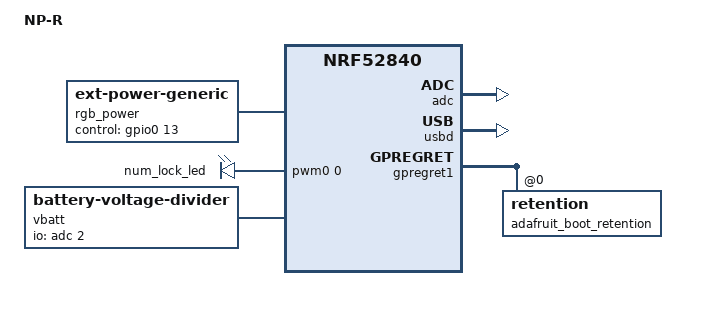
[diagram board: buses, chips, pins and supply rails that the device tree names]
/dts-v1/;
#include <nordic/nrf52840_qiaa.dtsi>
#include <common/nordic/nrf52840_uf2_boot_mode.dtsi>
#include <dt-bindings/zmk/matrix_transform.h>
#include <dt-bindings/led/led.h>
#include <dt-bindings/zmk/hid_indicators.h>

/ {
    model = "NP-R";
    compatible = "NP-R";

    chosen {
        zephyr,code-partition = &code_partition;
        zephyr,sram = &sram0;
        zephyr,flash = &flash0;
        zephyr,boot-mode = &boot_retention;
        zmk,magic-boot-mode = &adafruit_boot_retention;
        zmk,battery = &vbatt;
        npr,status-leds = &led_strip;
    };

    rgb_power {
        compatible = "zmk,ext-power-generic";
        control-gpios = <&gpio0 13 GPIO_ACTIVE_HIGH>;
    };

    pwm_leds {
        compatible = "pwm-leds";

        num_lock_led: num_lock_led {
            pwms = <&pwm0 0 PWM_MSEC(20) PWM_POLARITY_NORMAL>;
        };
    };


    indicators {
        compatible = "zmk,indicator-leds";

        num_lock_indicator: num_lock {
            leds = <&num_lock_led>;
            indicator = <HID_INDICATOR_NUM_LOCK>;

            active-brightness = <50>;
            inactive-brightness = <0>;
        };
    };
    
    vbatt: vbatt {
        compatible = "zmk,battery-voltage-divider";
        io-channels = <&adc 2>;
        output-ohms = <2000000>;
        full-ohms = <(2000000 + 806000)>;
    };

    magic_mapper {
        compatible = "zmk,bootmode-to-magic-mapper";
        status = "okay";

        #address-cells = <1>;
        #size-cells = <1>;

        boot_retention: retention@0 {
            compatible = "zephyr,retention";
            status = "okay";
            reg = <0x0 0x1>;
        };
    };
};

&adc {
    status = "okay";
};

&gpiote {
    status = "okay";
};

&gpio0 {
    status = "okay";
};

&gpio1 {
    status = "okay";
};

zephyr_udc0: &usbd {
    status = "okay";
};

&reg1 {
    regulator-initial-mode = <NRF5X_REG_MODE_DCDC>;
};

&gpregret1 {
    adafruit_boot_retention: retention@0 {
        compatible = "zephyr,retention";
        status = "okay";
        reg = <0x0 0x1>;
    };
};

&flash0 {
    /*
     * For more information, see:
     * http://docs.zephyrproject.org/latest/devices/dts/flash_partitions.html
     */
    partitions {
        compatible = "fixed-partitions";
        #address-cells = <1>;
        #size-cells = <1>;

        sd_partition: partition@0 {
            reg = <0x00000000 0x00026000>;
        };
        code_partition: partition@26000 {
            reg = <0x00026000 0x000c6000>;
        };

        /*
         * The flash starting at 0x000ec000 and ending at
         * 0x000f3fff is reserved for use by the application.
         */

        /*
         * Storage partition will be used by FCB/LittleFS/NVS
         * if enabled.
         */
        storage_partition: partition@ec000 {
            reg = <0x000ec000 0x00008000>;
        };

        boot_partition: partition@f4000 {
            reg = <0x000f4000 0x0000c000>;
        };
    };
};


